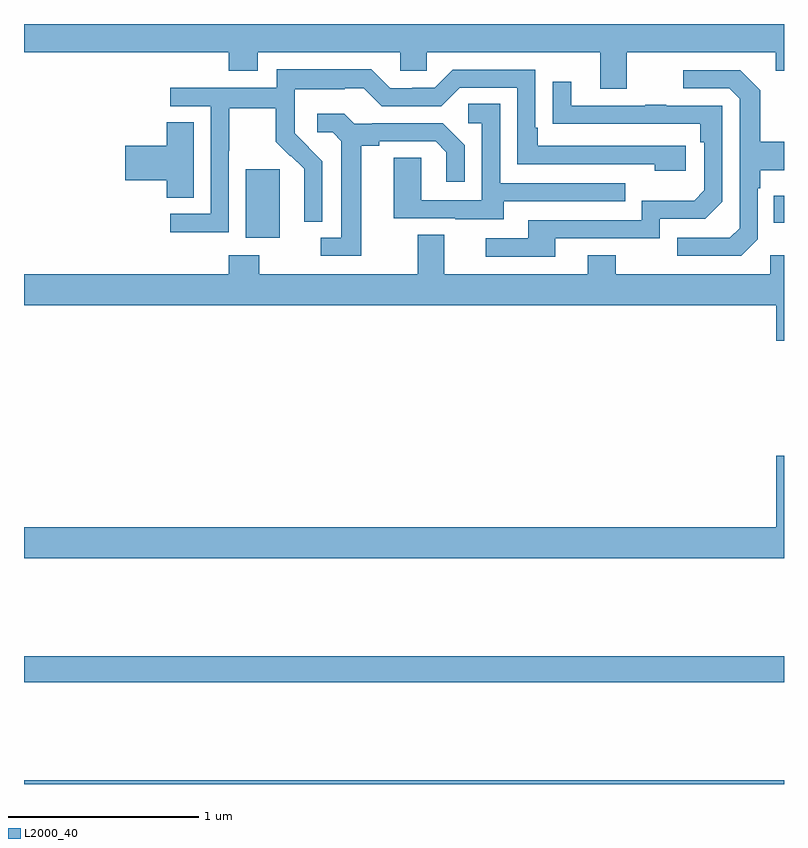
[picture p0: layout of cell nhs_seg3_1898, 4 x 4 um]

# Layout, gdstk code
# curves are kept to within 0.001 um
import gdstk
lib = gdstk.Library(unit=1e-6, precision=1e-09)
def R(c, l, rs):  # rectangles x0, y0, x1, y1
    for r in rs: c.add(gdstk.rectangle(r[:2], r[2:], *l))
def P(c, l, *ps):  # polygons
    for p in ps: c.add(gdstk.Polygon(p, *l))
L2000_40 = (2000, 40)

nhs_seg3_1898 = lib.new_cell('nhs_seg3_1898')
R(nhs_seg3_1898, L2000_40, [(209,694.4,213,694.42), (209,694.936,213,695.072), (210.167,697.274,210.346,697.635), (212.947,697.355,213,697.495)])
P(nhs_seg3_1898, L2000_40, [(209,698.252),(210.077,698.252),(210.077,698.153),(210.229,698.153),(210.229,698.252),(210.981,698.252),(210.981,698.154),(211.119,698.154),(211.119,698.252),(212.033,698.252),(212.033,698.058),(212.173,698.058),(212.173,698.252),(212.957,698.252),(212.957,698.153),(213,698.153),(213,698.4),(209,698.4)],
  [(210.078,697.732),(210.081,697.732),(210.081,697.956),(210.325,697.956),(210.325,697.781),(210.402,697.704),(210.405,697.707),(210.476,697.637),(210.476,697.514),(210.474,697.514),(210.474,697.36),(210.57,697.36),(210.57,697.678),(210.424,697.826),(210.424,697.923),(210.426,697.923),(210.426,698.057),(210.689,698.057),(210.689,698.061),(210.789,698.061),(210.882,697.968),(211.197,697.968),(211.293,698.064),(211.596,698.064),(211.596,697.662),(212.321,697.662),(212.321,697.628),(212.482,697.628),(212.482,697.758),(211.705,697.758),(211.705,697.855),(211.692,697.855),(211.692,698.16),(211.257,698.16),(211.161,698.064),(211.043,698.064),(211.043,698.061),(210.927,698.061),(210.827,698.161),(210.33,698.161),(210.33,698.064),(209.769,698.064),(209.769,697.968),(209.982,697.968),(209.982,697.401),(209.769,697.401),(209.769,697.303),(210.078,697.303)],
  [(212.862,697.266),(212.862,697.535),(212.875,697.535),(212.875,697.631),(213,697.631),(213,697.779),(212.875,697.779),(212.875,698.051),(212.769,698.157),(212.469,698.157),(212.469,698.061),(212.712,698.061),(212.766,698.007),(212.766,697.326),(212.715,697.275),(212.439,697.275),(212.439,697.179),(212.775,697.179)],
  [(211.795,697.272),(212.346,697.272),(212.346,697.374),(212.586,697.374),(212.676,697.464),(212.676,697.971),(212.381,697.971),(212.381,697.976),(212.269,697.976),(212.269,697.971),(211.879,697.971),(211.879,698.095),(211.783,698.095),(211.783,697.876),(212.56,697.875),(212.56,697.778),(212.58,697.778),(212.58,697.524),(212.527,697.471),(212.25,697.471),(212.25,697.368),(211.655,697.368),(211.655,697.272),(211.431,697.272),(211.431,697.176),(211.795,697.176)],
  [(211.525,697.467),(212.165,697.467),(212.165,697.563),(211.506,697.563),(211.506,697.979),(211.338,697.979),(211.338,697.878),(211.41,697.878),(211.41,697.473),(211.092,697.473),(211.092,697.697),(210.947,697.697),(210.947,697.377),(211.271,697.377),(211.271,697.373),(211.525,697.373)],
  [(210.775,697.76),(210.871,697.76),(210.871,697.782),(211.166,697.782),(211.223,697.725),(211.223,697.569),(211.32,697.569),(211.32,697.762),(211.204,697.878),(210.832,697.878),(210.832,697.875),(210.738,697.875),(210.686,697.927),(210.543,697.927),(210.543,697.83),(210.624,697.83),(210.671,697.783),(210.671,697.275),(210.561,697.275),(210.561,697.179),(210.775,697.179)],
  [(209.893,697.883),(209.75,697.883),(209.75,697.76),(209.532,697.76),(209.532,697.577),(209.75,697.577),(209.75,697.486),(209.893,697.486)],
  [(213,697.183),(212.928,697.183),(212.928,697.084),(212.115,697.084),(212.115,697.183),(211.967,697.183),(211.967,697.084),(211.213,697.084),(211.213,697.292),(211.073,697.292),(211.073,697.084),(210.237,697.084),(210.237,697.183),(210.077,697.183),(210.077,697.084),(209,697.084),(209,696.92),(212.96,696.92),(212.96,696.732),(213,696.732)],
  [(213,696.127),(212.96,696.127),(212.96,695.752),(209,695.752),(209,695.588),(213,695.588)])

lib.write_gds('nhs_seg3_1898.gds')
